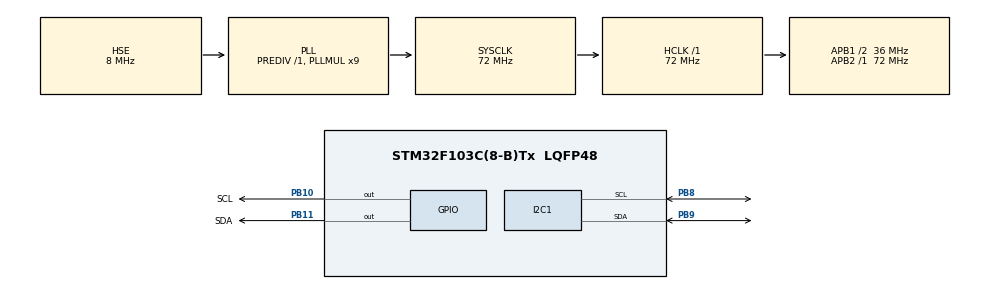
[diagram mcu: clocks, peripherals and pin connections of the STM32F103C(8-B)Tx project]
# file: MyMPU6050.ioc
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Mcu.Family=STM32F1
Mcu.Name=STM32F103C(8-B)Tx
Mcu.Package=LQFP48
NVIC.PriorityGroup=NVIC_PRIORITYGROUP_4
NVIC.RCC_IRQn=true\:0\:0\:false\:false\:true\:true\:false\:true
NVIC.TIM1_UP_IRQn=true\:0\:0\:false\:false\:true\:true\:true\:true
PA13.Mode=Serial_Wire
PA13.Signal=SYS_JTMS-SWDIO
PA14.Mode=Serial_Wire
PA14.Signal=SYS_JTCK-SWCLK
PB10.GPIO_Label=SCL
PB10.GPIO_ModeDefaultOutputPP=GPIO_MODE_OUTPUT_OD
PB10.GPIO_PuPd=GPIO_NOPULL
PB10.GPIO_Speed=GPIO_SPEED_FREQ_HIGH
PB10.Signal=GPIO_Output
PB11.GPIO_Label=SDA
PB11.GPIO_ModeDefaultOutputPP=GPIO_MODE_OUTPUT_OD
PB11.GPIO_PuPd=GPIO_NOPULL
PB11.GPIO_Speed=GPIO_SPEED_FREQ_HIGH
PB11.Signal=GPIO_Output
PB8.Mode=I2C
PB8.Signal=I2C1_SCL
PB9.Mode=I2C
PB9.Signal=I2C1_SDA
PC14-OSC32_IN.Mode=LSE-External-Oscillator
PC14-OSC32_IN.Signal=RCC_OSC32_IN
PC15-OSC32_OUT.Mode=LSE-External-Oscillator
PC15-OSC32_OUT.Signal=RCC_OSC32_OUT
PD0-OSC_IN.Mode=HSE-External-Oscillator
PD0-OSC_IN.Signal=RCC_OSC_IN
PD1-OSC_OUT.Mode=HSE-External-Oscillator
PD1-OSC_OUT.Signal=RCC_OSC_OUT
ProjectManager.HeapSize=0x200
ProjectManager.StackSize=0x400
ProjectManager.TargetToolchain=MDK-ARM V5.32
RCC.AHBFreq_Value=72000000
RCC.APB1CLKDivider=RCC_HCLK_DIV2
RCC.APB1Freq_Value=36000000
RCC.APB1TimFreq_Value=72000000
RCC.APB2Freq_Value=72000000
RCC.APB2TimFreq_Value=72000000
RCC.HCLKFreq_Value=72000000
RCC.PLLMUL=RCC_PLL_MUL9
RCC.PLLSourceVirtual=RCC_PLLSOURCE_HSE
RCC.SYSCLKFreq_VALUE=72000000
RCC.SYSCLKSource=RCC_SYSCLKSOURCE_PLLCLK
RCC.USBFreq_Value=72000000
RTC.AsynchPrediv=40
RTC.AutoPrediv=0
RTC.OutPut=RTC_OUTPUTSOURCE_ALARM
TIM1.Period=719
TIM1.Prescaler=999
TIM1.TIM_MasterOutputTrigger=TIM_TRGO_UPDATE
VP_RTC_VS_RTC_Activate.Mode=RTC_Enabled
VP_TIM1_VS_ClockSourceINT.Mode=Internal
board=custom

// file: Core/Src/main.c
/* USER CODE BEGIN Header */
/**
  ******************************************************************************
  * @file           : main.c
  * @brief          : Main program body
  ******************************************************************************
  * @attention
  *
  * <h2><center>&copy; Copyright (c) 2025 STMicroelectronics.
  * All rights reserved.</center></h2>
  *
  * This software component is licensed by ST under BSD 3-Clause license,
  * the "License"; You may not use this file except in compliance with the
  * License. You may obtain a copy of the License at:
  *                        opensource.org/licenses/BSD-3-Clause
  *
  ******************************************************************************
  */
/* USER CODE END Header */
#include "main.h"
#include "i2c.h"
#include "rtc.h"
#include "tim.h"
#include "gpio.h"

/* USER CODE BEGIN Includes */
#include "mpu6050.h"
#include "inv_mpu.h"
#include "oled.h"
#include "delay.h"
#include "Store.h"
/* USER CODE END Includes */

/* USER CODE BEGIN PV */
float pitch,roll,yaw;
uint8_t display_buf[20];
uint8_t pitch_bias[1024],roll_bias[1024],yaw_bias[1024];
float temp1=0,temp2=0,temp3=0;
uint16_t bias_flag = 1;
/* USER CODE END PV */

void SystemClock_Config(void);

int main(void)
{

  /* MCU Configuration--------------------------------------------------------*/

  /* Reset of all peripherals, Initializes the Flash interface and the Systick. */
  HAL_Init();

  /* Configure the system clock */
  SystemClock_Config();

  /* Initialize all configured peripherals */
  MX_GPIO_Init();
  MX_I2C1_Init();
  MX_RTC_Init();
  MX_TIM1_Init();
  /* USER CODE BEGIN 2 */
	OLED_Init();
	mpu6050_Init();
	mpu_dmp_init();
	//自检
	if(Store_Init()){
		OLED_ShowString(0,0,"For the First Time.",6);
		OLED_ShowString(0,8,"Start Self Test...",6);
		OLED_UpdateScreen(0,8);
		HAL_TIM_Base_Start_IT(&htim1);
		while(bias_flag<=2048){
			sprintf((char *)display_buf,"[%d%%]",bias_flag*100/2047);
			OLED_ShowString(0,16,display_buf,8);
			OLED_UpdateScreen(2,4);
		}
		OLED_ShowString(0,32,"Finished!Resetting..",6);
		OLED_UpdateScreen(4,6);
		Store_Save();
		HAL_NVIC_SystemReset();
	}else bias_flag = 0;

	HAL_TIM_Base_Start_IT(&htim1);
	OLED_ShowString(0,48,"Init Success",8);
	OLED_UpdateScreen(5,8);
  /* USER CODE END 2 */

  /* Infinite loop */
  /* USER CODE BEGIN WHILE */

  while (1)
  {
		sprintf((char *)display_buf,"pitch:%.1f",pitch);
		OLED_ShowString(0,0,display_buf,8);
		sprintf((char *)display_buf,"roll:%.1f",roll);
		OLED_ShowString(0,16,display_buf,8);
		sprintf((char *)display_buf,"yaw:%.1f",yaw);
		OLED_ShowString(0,32,display_buf,8);
		OLED_UpdateScreen(0,8);
    /* USER CODE END WHILE */

  }
}

void SystemClock_Config(void)
{
  RCC_OscInitTypeDef RCC_OscInitStruct = {0};
  RCC_ClkInitTypeDef RCC_ClkInitStruct = {0};
  RCC_PeriphCLKInitTypeDef PeriphClkInit = {0};

  /** Initializes the RCC Oscillators according to the specified parameters
  * in the RCC_OscInitTypeDef structure.
  */
  RCC_OscInitStruct.OscillatorType = RCC_OSCILLATORTYPE_LSI|RCC_OSCILLATORTYPE_HSE;
  RCC_OscInitStruct.HSEState = RCC_HSE_ON;
  RCC_OscInitStruct.HSEPredivValue = RCC_HSE_PREDIV_DIV1;
  RCC_OscInitStruct.HSIState = RCC_HSI_ON;
  RCC_OscInitStruct.LSIState = RCC_LSI_ON;
  RCC_OscInitStruct.PLL.PLLState = RCC_PLL_ON;
  RCC_OscInitStruct.PLL.PLLSource = RCC_PLLSOURCE_HSE;
  RCC_OscInitStruct.PLL.PLLMUL = RCC_PLL_MUL9;
  if (HAL_RCC_OscConfig(&RCC_OscInitStruct) != HAL_OK)
  {
    Error_Handler();
  }

  /** Initializes the CPU, AHB and APB buses clocks
  */
  RCC_ClkInitStruct.ClockType = RCC_CLOCKTYPE_HCLK|RCC_CLOCKTYPE_SYSCLK
                              |RCC_CLOCKTYPE_PCLK1|RCC_CLOCKTYPE_PCLK2;
  RCC_ClkInitStruct.SYSCLKSource = RCC_SYSCLKSOURCE_PLLCLK;
  RCC_ClkInitStruct.AHBCLKDivider = RCC_SYSCLK_DIV1;
  RCC_ClkInitStruct.APB1CLKDivider = RCC_HCLK_DIV2;
  RCC_ClkInitStruct.APB2CLKDivider = RCC_HCLK_DIV1;

  if (HAL_RCC_ClockConfig(&RCC_ClkInitStruct, FLASH_LATENCY_2) != HAL_OK)
  {
    Error_Handler();
  }
  PeriphClkInit.PeriphClockSelection = RCC_PERIPHCLK_RTC;
  PeriphClkInit.RTCClockSelection = RCC_RTCCLKSOURCE_LSI;
  if (HAL_RCCEx_PeriphCLKConfig(&PeriphClkInit) != HAL_OK)
  {
    Error_Handler();
  }
}

/* USER CODE BEGIN 4 */
void HAL_TIM_PeriodElapsedCallback(TIM_HandleTypeDef *htim) {
	if(bias_flag>2048){
		__HAL_TIM_DISABLE_IT(htim, TIM_IT_UPDATE);
		return;
	}
	else if(bias_flag %2 ){
		mpu_dmp_get_data(&pitch,&roll,&yaw);
		bias_flag ++;
			return;
	}else if( bias_flag && bias_flag%2 == 0){
		mpu_dmp_get_data(&temp1,&temp2,&temp3);
		pitch_bias[bias_flag/2-1]= (uint8_t)((temp1*10 + pitch*10)/2);
		roll_bias[bias_flag/2-1]= (uint8_t)(-temp2*10 + -roll*10)/2;
		yaw_bias[bias_flag/2-1]= (uint8_t)(temp3*10 + yaw*10)/2;
		bias_flag ++;
		return;
	}
	else mpu_dmp_get_data(&pitch,&roll,&yaw);
}
/* USER CODE END 4 */

void Error_Handler(void)
{
  __disable_irq();
  while (1)
  {
  }
}
